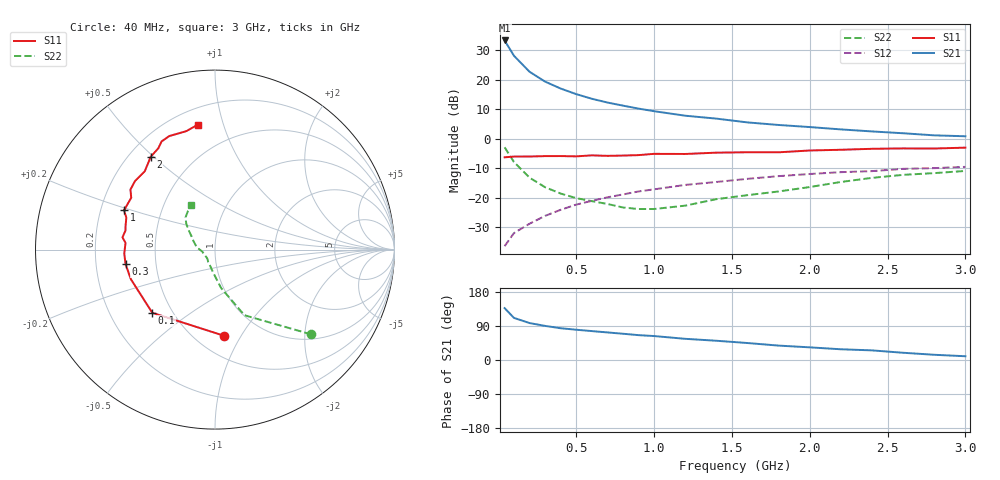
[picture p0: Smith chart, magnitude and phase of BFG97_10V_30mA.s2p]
! Filename:  BFG97F.S2P  Version:  2.0
! Philips part #: BFG97  Date: Jul 1990
! Bias condition: Vce=10V, Ic=30mA
#  MHz  S  MA  R  50
! Freq  S11  S21  S12  S22  !GUM [dB]
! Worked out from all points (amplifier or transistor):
!   21 points, 40 MHz to 3 GHz, reference 50 ohm
!   highest |S21| = 33.3 dB at 40 MHz (marker M1)
!   |S21| within 3 dB of that: start of sweep to 74.7 MHz
!   unconditionally stable (mu >= 1): 328.5 MHz to end of sweep
!   at 300 MHz: K = 0.99, MSG = 22.8 dB, |S12| = -26.2 dB
!   at 1 GHz: K = 1.08, MAG = 11.5 dB, |S12| = -17.2 dB
!   at 3 GHz: K = 1.01, MAG = 4.4 dB, |S12| = -9.6 dB
!   S11 on the Smith chart (normalised r, x): 40 MHz: 0.68, -0.85; 100 MHz: 0.39, -0.36; 300 MHz: 0.33, -0.07; 1 GHz: 0.30, +0.19; 2 GHz: 0.29, +0.49; 3 GHz: 0.30, +0.83
40  0.482 -84.2  46.2 136.9  0.015 61.3  0.714 -41.4
100  0.496 -134.8  25.43 111.1  0.025 55.6  0.401 -65.8
200  0.497 -160.7  13.62 97.5  0.036 61.5  0.218 -80.8
300  0.505 -170.8  9.259 90.0  0.049 65.3  0.15 -89.7
400  0.506 -177.4  7.066 83.8  0.062 65.4  0.117 -97.8
500  0.5 175.7  5.681 79.9  0.076 68.1  0.098 -104.8
600  0.52 172.5  4.743 76.3  0.088 67.0  0.087 -111.6
700  0.51 168.0  4.094 72.8  0.101 67.3  0.078 -119.5
800  0.516 164.9  3.627 69.3  0.113 66.3  0.068 -127.1
900  0.525 160.2  3.229 65.6  0.127 66.1  0.064 -137.6
1000  0.552 156.6  2.918 63.2  0.138 64.3  0.064 -147.5
1200  0.549 148.2  2.447 55.9  0.164 62.6  0.073 -172.6
1400  0.578 144.6  2.184 50.8  0.184 60.3  0.094 176.1
1600  0.587 139.3  1.883 44.8  0.208 58.4  0.11 167.5
1800  0.586 131.9  1.704 38.0  0.231 54.0  0.127 159.2
2000  0.629 124.7  1.57 33.4  0.251 52.3  0.151 150.3
2200  0.647 119.2  1.433 28.3  0.27 49.7  0.184 143.4
2400  0.672 116.3  1.324 25.4  0.281 49.0  0.216 137.9
2600  0.682 112.0  1.233 19.1  0.307 44.9  0.243 132.5
2800  0.679 103.6  1.136 13.8  0.316 40.5  0.26 125.9
3000  0.703 97.7  1.096 9.9  0.332 39.1  0.283 117.8
